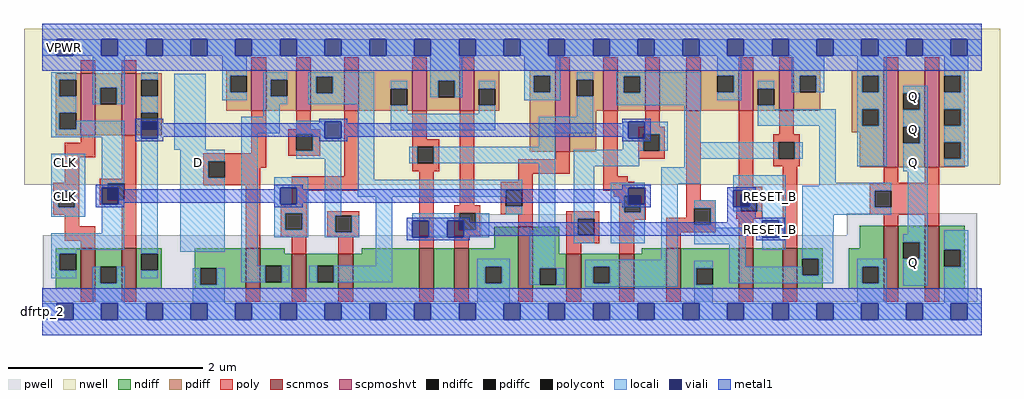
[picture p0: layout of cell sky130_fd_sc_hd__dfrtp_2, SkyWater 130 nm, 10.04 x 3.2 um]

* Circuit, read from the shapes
.subckt sky130_fd_sc_hd__dfrtp_2 VGND VPWR VPB VNB CLK D RESET_B Q
XM1 VGND CLK n1 VNB sky130_fd_pr__nfet_01v8 w=0.42 l=0.15
XM2 n2 n1 VGND VNB sky130_fd_pr__nfet_01v8 w=0.42 l=0.15
XM3 n3 D VGND VNB sky130_fd_pr__nfet_01v8 w=0.42 l=0.15
XM4 n4 n1 n3 VNB sky130_fd_pr__nfet_01v8 w=0.36 l=0.15
XM5 n5 n2 n4 VNB sky130_fd_pr__nfet_01v8 w=0.36 l=0.15
XM6 n6 n7 n5 VNB sky130_fd_pr__nfet_01v8 w=0.42 l=0.15
XM7 VGND RESET_B n6 VNB sky130_fd_pr__nfet_01v8 w=0.42 l=0.15
XM8 n7 n4 VGND VNB sky130_fd_pr__nfet_01v8 w=0.64 l=0.15
XM9 n8 n2 n7 VNB sky130_fd_pr__nfet_01v8 w=0.36 l=0.15
XM10 n9 n1 n8 VNB sky130_fd_pr__nfet_01v8 w=0.36 l=0.15
XM11 VGND n10 n9 VNB sky130_fd_pr__nfet_01v8 w=0.42 l=0.15
XM12 n11 RESET_B VGND VNB sky130_fd_pr__nfet_01v8 w=0.42 l=0.15
XM13 n10 n8 n11 VNB sky130_fd_pr__nfet_01v8 w=0.42 l=0.15
XM14 Q n10 VGND VNB sky130_fd_pr__nfet_01v8 w=0.65 l=0.15 m=2
XM15 VPWR CLK n1 VPB sky130_fd_pr__pfet_01v8_hvt w=0.64 l=0.15
XM16 n2 n1 VPWR VPB sky130_fd_pr__pfet_01v8_hvt w=0.64 l=0.15
XM17 n3 D VPWR VPB sky130_fd_pr__pfet_01v8_hvt w=0.42 l=0.15
XM18 n4 n2 n3 VPB sky130_fd_pr__pfet_01v8_hvt w=0.42 l=0.15
XM19 n12 n1 n4 VPB sky130_fd_pr__pfet_01v8_hvt w=0.42 l=0.15
XM20 VPWR n7 n12 VPB sky130_fd_pr__pfet_01v8_hvt w=0.42 l=0.15
XM21 n12 RESET_B VPWR VPB sky130_fd_pr__pfet_01v8_hvt w=0.42 l=0.15
XM22 n7 n4 VPWR VPB sky130_fd_pr__pfet_01v8_hvt w=0.84 l=0.15
XM23 n8 n1 n7 VPB sky130_fd_pr__pfet_01v8_hvt w=0.42 l=0.15
XM24 n13 n2 n8 VPB sky130_fd_pr__pfet_01v8_hvt w=0.42 l=0.15
XM25 VPWR n10 n13 VPB sky130_fd_pr__pfet_01v8_hvt w=0.42 l=0.15
XM26 n10 RESET_B VPWR VPB sky130_fd_pr__pfet_01v8_hvt w=0.42 l=0.15
XM27 VPWR n8 n10 VPB sky130_fd_pr__pfet_01v8_hvt w=0.42 l=0.15
XM28 Q n10 VPWR VPB sky130_fd_pr__pfet_01v8_hvt w=1 l=0.15 m=2
.ends

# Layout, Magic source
magic
tech sky130B
magscale 1 2
<< nwell >>
rect -38 221 1970 542
<< pwell >>
rect 903 117 1089 161
rect 1655 117 1923 163
rect 1 -19 1923 117
rect 29 -57 63 -19
<< scnmos >>
rect 79 7 109 91
rect 163 7 193 91
rect 418 7 448 91
rect 513 7 543 79
rect 609 7 639 79
rect 775 7 805 91
rect 847 7 877 91
rect 979 7 1009 135
rect 1078 7 1108 79
rect 1187 7 1217 79
rect 1283 7 1313 91
rect 1432 7 1462 91
rect 1523 7 1553 91
rect 1731 7 1761 137
rect 1815 7 1845 137
<< scpmoshvt >>
rect 79 323 109 451
rect 163 323 193 451
rect 430 373 460 457
rect 522 373 552 457
rect 621 373 651 457
rect 761 373 791 457
rect 858 373 888 457
rect 1055 289 1085 457
rect 1154 373 1184 457
rect 1240 373 1270 457
rect 1324 373 1354 457
rect 1432 373 1462 457
rect 1516 373 1546 457
rect 1731 257 1761 457
rect 1815 257 1845 457
<< ndiff >>
rect 27 79 79 91
rect 27 45 35 79
rect 69 45 79 79
rect 27 7 79 45
rect 109 53 163 91
rect 109 19 119 53
rect 153 19 163 53
rect 109 7 163 19
rect 193 79 245 91
rect 193 45 203 79
rect 237 45 245 79
rect 193 7 245 45
rect 313 49 418 91
rect 313 15 325 49
rect 359 15 418 49
rect 313 7 418 15
rect 448 79 498 91
rect 929 91 979 135
rect 657 79 775 91
rect 448 55 513 79
rect 448 21 458 55
rect 492 21 513 55
rect 448 7 513 21
rect 543 55 609 79
rect 543 21 565 55
rect 599 21 609 55
rect 543 7 609 21
rect 639 7 775 79
rect 805 7 847 91
rect 877 53 979 91
rect 877 19 911 53
rect 945 19 979 53
rect 877 7 979 19
rect 1009 79 1063 135
rect 1681 91 1731 137
rect 1233 79 1283 91
rect 1009 49 1078 79
rect 1009 15 1023 49
rect 1057 15 1078 49
rect 1009 7 1078 15
rect 1108 53 1187 79
rect 1108 19 1133 53
rect 1167 19 1187 53
rect 1108 7 1187 19
rect 1217 7 1283 79
rect 1313 49 1432 91
rect 1313 15 1345 49
rect 1379 15 1432 49
rect 1313 7 1432 15
rect 1462 7 1523 91
rect 1553 69 1605 91
rect 1553 35 1563 69
rect 1597 35 1605 69
rect 1553 7 1605 35
rect 1659 53 1731 91
rect 1659 19 1687 53
rect 1721 19 1731 53
rect 1659 7 1731 19
rect 1761 103 1815 137
rect 1761 69 1771 103
rect 1805 69 1815 103
rect 1761 7 1815 69
rect 1845 87 1897 137
rect 1845 53 1855 87
rect 1889 53 1897 87
rect 1845 7 1897 53
<< pdiff >>
rect 27 437 79 451
rect 27 403 35 437
rect 69 403 79 437
rect 27 369 79 403
rect 27 335 35 369
rect 69 335 79 369
rect 27 323 79 335
rect 109 421 163 451
rect 109 387 119 421
rect 153 387 163 421
rect 109 323 163 387
rect 193 437 245 451
rect 193 403 203 437
rect 237 403 245 437
rect 193 369 245 403
rect 378 445 430 457
rect 378 411 386 445
rect 420 411 430 445
rect 378 373 430 411
rect 460 437 522 457
rect 460 403 470 437
rect 504 403 522 437
rect 460 373 522 403
rect 552 443 621 457
rect 552 409 563 443
rect 597 409 621 443
rect 552 373 621 409
rect 651 419 761 457
rect 651 385 717 419
rect 751 385 761 419
rect 651 373 761 385
rect 791 435 858 457
rect 791 401 814 435
rect 848 401 858 435
rect 791 373 858 401
rect 888 419 940 457
rect 888 385 898 419
rect 932 385 940 419
rect 888 373 940 385
rect 1003 445 1055 457
rect 1003 411 1011 445
rect 1045 411 1055 445
rect 193 335 203 369
rect 237 335 245 369
rect 193 323 245 335
rect 1003 289 1055 411
rect 1085 437 1154 457
rect 1085 403 1099 437
rect 1133 403 1154 437
rect 1085 373 1154 403
rect 1184 444 1240 457
rect 1184 410 1196 444
rect 1230 410 1240 444
rect 1184 373 1240 410
rect 1270 373 1324 457
rect 1354 445 1432 457
rect 1354 411 1388 445
rect 1422 411 1432 445
rect 1354 373 1432 411
rect 1462 419 1516 457
rect 1462 385 1472 419
rect 1506 385 1516 419
rect 1462 373 1516 385
rect 1546 445 1600 457
rect 1546 411 1558 445
rect 1592 411 1600 445
rect 1546 373 1600 411
rect 1665 445 1731 457
rect 1665 411 1687 445
rect 1721 411 1731 445
rect 1665 377 1731 411
rect 1085 289 1139 373
rect 1665 343 1687 377
rect 1721 343 1731 377
rect 1665 329 1731 343
rect 1681 257 1731 329
rect 1761 409 1815 457
rect 1761 375 1771 409
rect 1805 375 1815 409
rect 1761 341 1815 375
rect 1761 307 1771 341
rect 1805 307 1815 341
rect 1761 257 1815 307
rect 1845 445 1897 457
rect 1845 411 1855 445
rect 1889 411 1897 445
rect 1845 377 1897 411
rect 1845 343 1855 377
rect 1889 343 1897 377
rect 1845 309 1897 343
rect 1845 275 1855 309
rect 1889 275 1897 309
rect 1845 257 1897 275
<< ndiffc >>
rect 35 45 69 79
rect 119 19 153 53
rect 203 45 237 79
rect 325 15 359 49
rect 458 21 492 55
rect 565 21 599 55
rect 911 19 945 53
rect 1023 15 1057 49
rect 1133 19 1167 53
rect 1345 15 1379 49
rect 1563 35 1597 69
rect 1687 19 1721 53
rect 1771 69 1805 103
rect 1855 53 1889 87
<< pdiffc >>
rect 35 403 69 437
rect 35 335 69 369
rect 119 387 153 421
rect 203 403 237 437
rect 386 411 420 445
rect 470 403 504 437
rect 563 409 597 443
rect 717 385 751 419
rect 814 401 848 435
rect 898 385 932 419
rect 1011 411 1045 445
rect 203 335 237 369
rect 1099 403 1133 437
rect 1196 410 1230 444
rect 1388 411 1422 445
rect 1472 385 1506 419
rect 1558 411 1592 445
rect 1687 411 1721 445
rect 1687 343 1721 377
rect 1771 375 1805 409
rect 1771 307 1805 341
rect 1855 411 1889 445
rect 1855 343 1889 377
rect 1855 275 1889 309
<< poly >>
rect 79 451 109 477
rect 163 451 193 477
rect 430 457 460 483
rect 522 457 552 483
rect 621 457 651 483
rect 761 457 791 483
rect 858 457 888 483
rect 1055 457 1085 483
rect 1154 457 1184 483
rect 1240 457 1270 483
rect 1324 457 1354 483
rect 1432 457 1462 483
rect 1516 457 1546 483
rect 1731 457 1761 483
rect 1815 457 1845 483
rect 79 308 109 323
rect 46 278 109 308
rect 46 225 76 278
rect 163 234 193 323
rect 430 286 460 373
rect 522 335 552 373
rect 22 209 76 225
rect 22 175 32 209
rect 66 175 76 209
rect 118 224 193 234
rect 118 190 134 224
rect 168 190 193 224
rect 331 270 460 286
rect 506 325 572 335
rect 506 291 522 325
rect 556 291 572 325
rect 506 281 572 291
rect 331 236 341 270
rect 375 256 460 270
rect 375 236 448 256
rect 621 239 651 373
rect 761 315 791 373
rect 761 299 816 315
rect 761 265 771 299
rect 805 265 816 299
rect 761 249 816 265
rect 331 220 448 236
rect 118 180 193 190
rect 22 159 76 175
rect 46 136 76 159
rect 46 106 109 136
rect 79 91 109 106
rect 163 91 193 180
rect 418 91 448 220
rect 513 209 651 239
rect 513 179 544 209
rect 490 163 544 179
rect 490 129 500 163
rect 534 129 544 163
rect 490 113 544 129
rect 586 157 652 167
rect 586 123 602 157
rect 636 123 652 157
rect 586 113 652 123
rect 513 79 543 113
rect 609 79 639 113
rect 775 91 805 249
rect 858 179 888 373
rect 1055 274 1085 289
rect 979 244 1085 274
rect 979 227 1009 244
rect 943 211 1009 227
rect 847 163 901 179
rect 847 129 857 163
rect 891 129 901 163
rect 943 177 953 211
rect 987 177 1009 211
rect 1154 239 1184 373
rect 1240 341 1270 373
rect 1226 325 1280 341
rect 1226 291 1236 325
rect 1270 291 1280 325
rect 1226 275 1280 291
rect 1154 227 1204 239
rect 1154 215 1217 227
rect 1154 209 1241 215
rect 1175 199 1241 209
rect 1175 197 1197 199
rect 943 161 1009 177
rect 979 135 1009 161
rect 1078 151 1145 167
rect 847 113 901 129
rect 847 91 877 113
rect 1078 117 1101 151
rect 1135 117 1145 151
rect 1078 101 1145 117
rect 1187 165 1197 197
rect 1231 165 1241 199
rect 1187 149 1241 165
rect 1324 189 1354 373
rect 1432 217 1462 373
rect 1516 325 1546 373
rect 1504 309 1558 325
rect 1504 275 1514 309
rect 1548 275 1558 309
rect 1504 259 1558 275
rect 1427 201 1481 217
rect 1324 173 1385 189
rect 1324 153 1341 173
rect 1078 79 1108 101
rect 1187 79 1217 149
rect 1283 139 1341 153
rect 1375 139 1385 173
rect 1427 167 1437 201
rect 1471 167 1481 201
rect 1427 151 1481 167
rect 1283 123 1385 139
rect 1283 91 1313 123
rect 1432 91 1462 151
rect 1523 91 1553 259
rect 1731 225 1761 257
rect 1815 225 1845 257
rect 1702 209 1845 225
rect 1702 175 1712 209
rect 1746 175 1845 209
rect 1702 159 1845 175
rect 1731 137 1761 159
rect 1815 137 1845 159
rect 79 -19 109 7
rect 163 -19 193 7
rect 418 -19 448 7
rect 513 -19 543 7
rect 609 -19 639 7
rect 775 -19 805 7
rect 847 -19 877 7
rect 979 -19 1009 7
rect 1078 -19 1108 7
rect 1187 -19 1217 7
rect 1283 -19 1313 7
rect 1432 -19 1462 7
rect 1523 -19 1553 7
rect 1731 -19 1761 7
rect 1815 -19 1845 7
<< polycont >>
rect 32 175 66 209
rect 134 190 168 224
rect 522 291 556 325
rect 341 236 375 270
rect 771 265 805 299
rect 500 129 534 163
rect 602 123 636 157
rect 857 129 891 163
rect 953 177 987 211
rect 1236 291 1270 325
rect 1101 117 1135 151
rect 1197 165 1231 199
rect 1514 275 1548 309
rect 1341 139 1375 173
rect 1437 167 1471 201
rect 1712 175 1746 209
<< locali >>
rect 0 487 29 521
rect 63 487 121 521
rect 155 487 213 521
rect 247 487 305 521
rect 339 487 397 521
rect 431 487 489 521
rect 523 487 581 521
rect 615 487 673 521
rect 707 487 765 521
rect 799 487 857 521
rect 891 487 949 521
rect 983 487 1041 521
rect 1075 487 1133 521
rect 1167 487 1225 521
rect 1259 487 1317 521
rect 1351 487 1409 521
rect 1443 487 1501 521
rect 1535 487 1593 521
rect 1627 487 1685 521
rect 1719 487 1777 521
rect 1811 487 1869 521
rect 1903 487 1932 521
rect 18 437 69 453
rect 18 403 35 437
rect 18 369 69 403
rect 103 421 169 487
rect 103 387 119 421
rect 153 387 169 421
rect 203 437 237 453
rect 18 335 35 369
rect 203 369 237 403
rect 69 335 168 353
rect 18 319 168 335
rect 18 209 88 285
rect 18 175 32 209
rect 66 175 88 209
rect 18 155 88 175
rect 122 224 168 319
rect 122 215 134 224
rect 156 181 168 190
rect 122 121 168 181
rect 18 87 168 121
rect 18 79 69 87
rect 18 45 35 79
rect 203 79 237 317
rect 271 293 336 450
rect 370 445 420 487
rect 370 411 386 445
rect 370 395 420 411
rect 454 437 504 453
rect 454 403 470 437
rect 454 387 504 403
rect 547 443 683 453
rect 547 409 563 443
rect 597 409 683 443
rect 798 435 864 487
rect 991 445 1065 487
rect 547 387 683 409
rect 454 361 488 387
rect 409 327 488 361
rect 522 351 615 353
rect 283 270 375 293
rect 283 236 341 270
rect 283 83 375 236
rect 18 29 69 45
rect 103 19 119 53
rect 153 19 169 53
rect 409 55 443 327
rect 522 325 581 351
rect 556 317 581 325
rect 556 291 615 317
rect 522 275 615 291
rect 477 215 547 237
rect 477 181 489 215
rect 523 181 547 215
rect 477 163 547 181
rect 477 129 500 163
rect 534 129 547 163
rect 477 113 547 129
rect 581 157 615 275
rect 649 231 683 387
rect 717 419 751 435
rect 798 401 814 435
rect 848 401 864 435
rect 898 419 932 435
rect 717 367 751 385
rect 991 411 1011 445
rect 1045 411 1065 445
rect 991 395 1065 411
rect 1099 437 1133 453
rect 898 367 932 385
rect 717 333 932 367
rect 1099 361 1133 403
rect 1180 444 1354 453
rect 1180 410 1196 444
rect 1230 410 1354 444
rect 1180 385 1354 410
rect 1388 445 1438 487
rect 1422 411 1438 445
rect 1542 445 1608 487
rect 1388 395 1438 411
rect 1472 419 1506 435
rect 1021 327 1133 361
rect 1021 299 1055 327
rect 755 265 771 299
rect 805 265 1055 299
rect 1194 317 1205 351
rect 1239 325 1286 351
rect 1194 293 1236 317
rect 649 211 987 231
rect 649 197 953 211
rect 581 123 602 157
rect 636 123 652 157
rect 581 113 652 123
rect 686 55 720 197
rect 761 147 857 163
rect 795 113 833 147
rect 891 129 919 163
rect 953 161 987 177
rect 867 113 919 129
rect 1021 127 1055 265
rect 203 29 237 45
rect 103 -23 169 19
rect 309 15 325 49
rect 359 15 375 49
rect 409 21 458 55
rect 492 21 508 55
rect 549 21 565 55
rect 599 21 720 55
rect 895 53 961 69
rect 309 -23 375 15
rect 895 19 911 53
rect 945 19 961 53
rect 895 -23 961 19
rect 1003 49 1055 127
rect 1093 291 1236 293
rect 1270 291 1286 325
rect 1320 309 1354 385
rect 1542 411 1558 445
rect 1592 411 1608 445
rect 1676 445 1737 487
rect 1676 411 1687 445
rect 1721 411 1737 445
rect 1855 445 1905 487
rect 1472 377 1506 385
rect 1676 377 1737 411
rect 1472 343 1632 377
rect 1093 259 1228 291
rect 1320 275 1514 309
rect 1548 275 1564 309
rect 1093 151 1135 259
rect 1320 257 1354 275
rect 1093 117 1101 151
rect 1093 101 1135 117
rect 1169 215 1239 225
rect 1169 199 1205 215
rect 1169 165 1197 199
rect 1231 165 1239 181
rect 1169 101 1239 165
rect 1273 223 1354 257
rect 1273 67 1307 223
rect 1421 210 1529 241
rect 1598 225 1632 343
rect 1676 343 1687 377
rect 1721 343 1737 377
rect 1676 259 1737 343
rect 1771 409 1821 425
rect 1805 375 1821 409
rect 1771 341 1821 375
rect 1805 307 1821 341
rect 1771 249 1821 307
rect 1889 411 1905 445
rect 1855 377 1905 411
rect 1889 343 1905 377
rect 1855 309 1905 343
rect 1889 275 1905 309
rect 1855 259 1905 275
rect 1598 219 1746 225
rect 1455 201 1529 210
rect 1341 173 1385 189
rect 1375 139 1385 173
rect 1421 167 1437 176
rect 1471 167 1529 201
rect 1341 133 1385 139
rect 1481 147 1529 167
rect 1341 99 1447 133
rect 1117 53 1307 67
rect 1003 15 1023 49
rect 1057 15 1073 49
rect 1117 19 1133 53
rect 1167 19 1307 53
rect 1117 11 1307 19
rect 1341 49 1379 65
rect 1341 15 1345 49
rect 1413 53 1447 99
rect 1515 113 1529 147
rect 1481 87 1529 113
rect 1563 209 1746 219
rect 1563 175 1712 209
rect 1563 159 1746 175
rect 1563 124 1628 159
rect 1563 69 1627 124
rect 1780 119 1821 249
rect 1771 103 1821 119
rect 1805 69 1821 103
rect 1413 35 1563 53
rect 1597 35 1627 69
rect 1413 19 1627 35
rect 1676 53 1737 69
rect 1676 19 1687 53
rect 1721 19 1737 53
rect 1341 -23 1379 15
rect 1676 -23 1737 19
rect 1771 13 1821 69
rect 1855 87 1905 128
rect 1889 53 1905 87
rect 1855 -23 1905 53
rect 0 -57 29 -23
rect 63 -57 121 -23
rect 155 -57 213 -23
rect 247 -57 305 -23
rect 339 -57 397 -23
rect 431 -57 489 -23
rect 523 -57 581 -23
rect 615 -57 673 -23
rect 707 -57 765 -23
rect 799 -57 857 -23
rect 891 -57 949 -23
rect 983 -57 1041 -23
rect 1075 -57 1133 -23
rect 1167 -57 1225 -23
rect 1259 -57 1317 -23
rect 1351 -57 1409 -23
rect 1443 -57 1501 -23
rect 1535 -57 1593 -23
rect 1627 -57 1685 -23
rect 1719 -57 1777 -23
rect 1811 -57 1869 -23
rect 1903 -57 1932 -23
<< viali >>
rect 29 487 63 521
rect 121 487 155 521
rect 213 487 247 521
rect 305 487 339 521
rect 397 487 431 521
rect 489 487 523 521
rect 581 487 615 521
rect 673 487 707 521
rect 765 487 799 521
rect 857 487 891 521
rect 949 487 983 521
rect 1041 487 1075 521
rect 1133 487 1167 521
rect 1225 487 1259 521
rect 1317 487 1351 521
rect 1409 487 1443 521
rect 1501 487 1535 521
rect 1593 487 1627 521
rect 1685 487 1719 521
rect 1777 487 1811 521
rect 1869 487 1903 521
rect 122 190 134 215
rect 134 190 156 215
rect 122 181 156 190
rect 203 335 237 351
rect 203 317 237 335
rect 581 317 615 351
rect 489 181 523 215
rect 1205 325 1239 351
rect 1205 317 1236 325
rect 1236 317 1239 325
rect 761 113 795 147
rect 833 129 857 147
rect 857 129 867 147
rect 833 113 867 129
rect 1205 199 1239 215
rect 1205 181 1231 199
rect 1231 181 1239 199
rect 1421 201 1455 210
rect 1421 176 1437 201
rect 1437 176 1455 201
rect 1481 113 1515 147
rect 29 -57 63 -23
rect 121 -57 155 -23
rect 213 -57 247 -23
rect 305 -57 339 -23
rect 397 -57 431 -23
rect 489 -57 523 -23
rect 581 -57 615 -23
rect 673 -57 707 -23
rect 765 -57 799 -23
rect 857 -57 891 -23
rect 949 -57 983 -23
rect 1041 -57 1075 -23
rect 1133 -57 1167 -23
rect 1225 -57 1259 -23
rect 1317 -57 1351 -23
rect 1409 -57 1443 -23
rect 1501 -57 1535 -23
rect 1593 -57 1627 -23
rect 1685 -57 1719 -23
rect 1777 -57 1811 -23
rect 1869 -57 1903 -23
<< metal1 >>
rect 0 521 1932 552
rect 0 487 29 521
rect 63 487 121 521
rect 155 487 213 521
rect 247 487 305 521
rect 339 487 397 521
rect 431 487 489 521
rect 523 487 581 521
rect 615 487 673 521
rect 707 487 765 521
rect 799 487 857 521
rect 891 487 949 521
rect 983 487 1041 521
rect 1075 487 1133 521
rect 1167 487 1225 521
rect 1259 487 1317 521
rect 1351 487 1409 521
rect 1443 487 1501 521
rect 1535 487 1593 521
rect 1627 487 1685 521
rect 1719 487 1777 521
rect 1811 487 1869 521
rect 1903 487 1932 521
rect 0 456 1932 487
rect 191 351 249 357
rect 191 317 203 351
rect 237 348 249 351
rect 569 351 627 357
rect 569 348 581 351
rect 237 320 581 348
rect 237 317 249 320
rect 191 311 249 317
rect 569 317 581 320
rect 615 348 627 351
rect 1193 351 1251 357
rect 1193 348 1205 351
rect 615 320 1205 348
rect 615 317 627 320
rect 569 311 627 317
rect 1193 317 1205 320
rect 1239 317 1251 351
rect 1193 311 1251 317
rect 110 215 168 221
rect 110 181 122 215
rect 156 212 168 215
rect 477 215 535 221
rect 477 212 489 215
rect 156 184 489 212
rect 156 181 168 184
rect 110 175 168 181
rect 477 181 489 184
rect 523 212 535 215
rect 1193 215 1251 221
rect 1193 212 1205 215
rect 523 184 1205 212
rect 523 181 535 184
rect 477 175 535 181
rect 1193 181 1205 184
rect 1239 181 1251 215
rect 1193 175 1251 181
rect 1409 210 1467 216
rect 1409 176 1421 210
rect 1455 176 1467 210
rect 1409 153 1467 176
rect 749 147 879 153
rect 749 113 761 147
rect 795 113 833 147
rect 867 144 879 147
rect 1409 147 1527 153
rect 1409 144 1481 147
rect 867 116 1481 144
rect 867 113 879 116
rect 749 107 879 113
rect 1469 113 1481 116
rect 1515 113 1527 147
rect 1469 107 1527 113
rect 0 -23 1932 8
rect 0 -57 29 -23
rect 63 -57 121 -23
rect 155 -57 213 -23
rect 247 -57 305 -23
rect 339 -57 397 -23
rect 431 -57 489 -23
rect 523 -57 581 -23
rect 615 -57 673 -23
rect 707 -57 765 -23
rect 799 -57 857 -23
rect 891 -57 949 -23
rect 983 -57 1041 -23
rect 1075 -57 1133 -23
rect 1167 -57 1225 -23
rect 1259 -57 1317 -23
rect 1351 -57 1409 -23
rect 1443 -57 1501 -23
rect 1535 -57 1593 -23
rect 1627 -57 1685 -23
rect 1719 -57 1777 -23
rect 1811 -57 1869 -23
rect 1903 -57 1932 -23
rect 0 -88 1932 -57
<< labels >>
rlabel comment s 0 -40 0 -40 4 dfrtp_2
flabel metal1 s 29 -57 63 -23 0 FreeSans 200 0 0 0 VGND
port 2 nsew
flabel metal1 s 29 487 63 521 0 FreeSans 200 0 0 0 VPWR
port 3 nsew
flabel nwell s 29 487 63 521 0 FreeSans 200 0 0 0 VPB
port 5 nsew
flabel pwell s 29 -57 63 -23 0 FreeSans 200 0 0 0 VNB
port 6 nsew
flabel locali s 1776 385 1810 419 0 FreeSans 400 0 0 0 Q
port 10 nsew
flabel locali s 1776 317 1810 351 0 FreeSans 400 0 0 0 Q
port 10 nsew
flabel locali s 1776 249 1810 283 0 FreeSans 400 0 0 0 Q
port 10 nsew
flabel locali s 1776 45 1810 79 0 FreeSans 400 0 0 0 Q
port 10 nsew
flabel locali s 1481 113 1515 147 0 FreeSans 400 0 0 0 RESET_B
port 9 nsew
flabel locali s 305 249 339 283 0 FreeSans 400 0 0 0 D
port 8 nsew
flabel locali s 30 249 64 283 0 FreeSans 400 0 0 0 CLK
port 7 nsew
flabel locali s 30 181 64 215 0 FreeSans 400 0 0 0 CLK
port 7 nsew
flabel locali s 1481 181 1515 215 0 FreeSans 400 0 0 0 RESET_B
port 9 nsew
<< properties >>
string FIXED_BBOX 0 -40 1932 504
string path 46.000 12.600 48.300 12.600 
<< end >>
